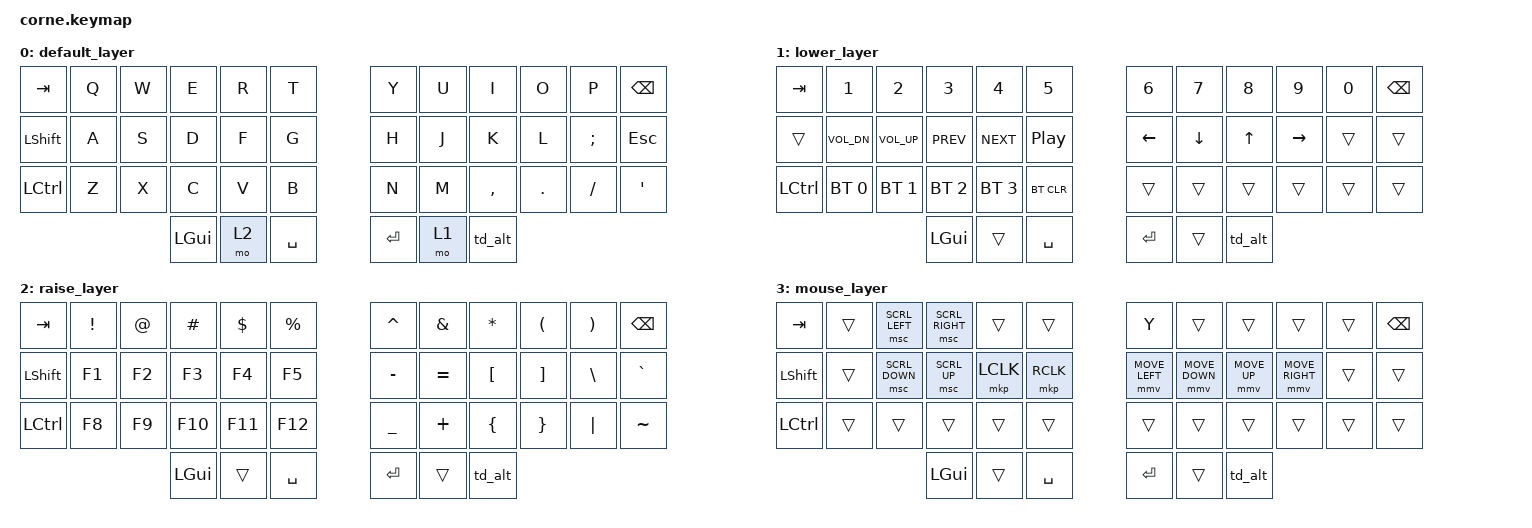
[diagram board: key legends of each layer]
#define ZMK_POINTING_DEFAULT_MOVE_VAL 1500  // default: 600
#define ZMK_POINTING_DEFAULT_SCRL_VAL 20    // default: 10

#include <behaviors.dtsi>
#include <dt-bindings/zmk/keys.h>
#include <dt-bindings/zmk/bt.h>
#include <dt-bindings/zmk/pointing.h>

/ {
    conditional_layers {
        compatible = "zmk,conditional-layers";
        mouse_layer {
            if-layers = <1 2>;
            then-layer = <3>;
        };
    };

    behaviors {
        td_alt: td {
            compatible = "zmk,behavior-tap-dance";
            #binding-cells = <0>;  
            tapping-term-ms = <1000>;
            bindings = <&kp LALT>, <&kp RALT>;
        };
    };

    keymap {
        compatible = "zmk,keymap";

        default_layer {
            bindings = <
                &kp TAB   &kp Q    &kp W    &kp E    &kp R    &kp T    &kp Y    &kp U    &kp I    &kp O    &kp P    &kp BSPC
                &kp LSHFT &kp A    &kp S    &kp D    &kp F    &kp G    &kp H    &kp J    &kp K    &kp L    &kp SEMI &kp ESC
                &kp LCTRL &kp Z    &kp X    &kp C    &kp V    &kp B    &kp N    &kp M    &kp COMMA &kp DOT &kp FSLH &kp SQT
                         &kp LGUI &mo 2 &kp SPACE   &kp RET &mo 1 &td_alt  // ← Corregido
            >;
        };

        lower_layer {
            bindings = <
                &kp TAB    &kp N1   &kp N2   &kp N3   &kp N4   &kp N5   &kp N6   &kp N7   &kp N8   &kp N9   &kp N0   &kp BSPC
                &trans  &kp C_VOL_DN &kp C_VOL_UP &kp C_PREV &kp C_NEXT &kp C_PP &kp LEFT &kp DOWN &kp UP &kp RIGHT &trans &trans
                &kp LCTRL  &bt BT_SEL 0 &bt BT_SEL 1 &bt BT_SEL 2 &bt BT_SEL 3 &bt BT_CLR  &trans   &trans   &trans &trans &trans &trans
                                    &kp LGUI     &trans       &kp SPACE      &kp RET  &trans   &td_alt  // ← Corregido
            >;
        };

        raise_layer {
            bindings = <
                &kp  TAB  &kp EXCL &kp AT &kp HASH &kp DLLR &kp PRCNT   &kp CARET &kp AMPS  &kp ASTRK &kp LPAR &kp RPAR &kp BSPC
                &kp LSHFT &kp F1   &kp F2 &kp F3   &kp F4   &kp F5      &kp MINUS &kp EQUAL &kp LBKT  &kp RBKT &kp BSLH &kp GRAVE
                &kp LCTRL &kp F8   &kp F9 &kp F10  &kp F11  &kp F12     &kp UNDER &kp PLUS  &kp LBRC  &kp RBRC &kp PIPE &kp TILDE
                                &kp LGUI &trans   &kp SPACE   &kp RET   &trans    &td_alt  // ← Corregido
            >;
        };

        mouse_layer {
            bindings = <
                &kp TAB    &trans   &msc SCRL_LEFT  &msc SCRL_RIGHT       &trans       &trans         &kp Y   &trans   &trans &trans    &trans &kp BSPC
                &kp LSHFT  &trans  &msc SCRL_DOWN &msc SCRL_UP &mkp LCLK &mkp RCLK   &mmv MOVE_LEFT  &mmv MOVE_DOWN   &mmv MOVE_UP &mmv MOVE_RIGHT &trans &trans
                &kp LCTRL  &trans       &trans       &trans       &trans       &trans         &trans   &trans   &trans &trans    &trans &trans
                                    &kp LGUI     &trans       &kp SPACE      &kp RET  &trans   &td_alt  // ← Corregido
            >;
        };
    };
};

